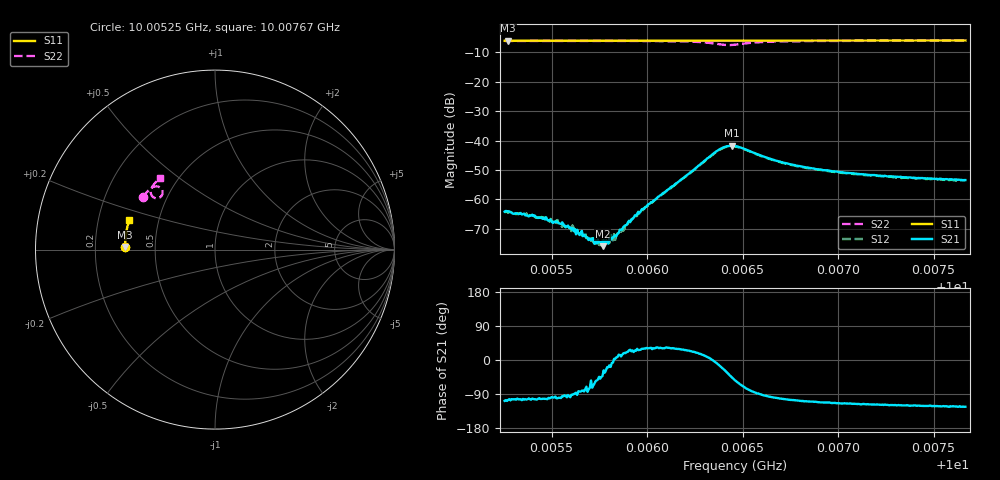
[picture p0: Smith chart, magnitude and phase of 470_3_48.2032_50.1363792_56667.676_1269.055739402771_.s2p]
#  HZ  S  RI  R  50.00
! Rohde & Schwarz Vector Network Analyzer
! Rohde-Schwarz,ZNB20-2Port,1311601062101988,3.16
! Created: UTC 3/20/2024, 11:57:07 AM
! freq[Hz]  re:S11  im:S11  re:S21  im:S21  re:S12  im:S12  re:S22  im:S22
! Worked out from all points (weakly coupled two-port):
!   401 points, 10.00525 GHz to 10.00767 GHz, reference 50 ohm
!   highest |S21| = -41.79 dB at 10.00644 GHz (marker M1); lowest = -76.0 dB at 10.00577 GHz (marker M2)
!   lowest |S11| = -6.0 dB at 10.00527 GHz (marker M3), VSWR 3.01, Z = 16.6 + j0.641 ohm
!   |S11| at or under -10 dB: nowhere
!   |S22| runs from -7.5 to -6.0 dB; largest |S21 - S12| = 0.0005
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1.0005254e10  -0.5008 0.0133  -0.000188 -0.000587  -0.000139 -0.000622  -0.4002 0.2923
1.0005272e10  -0.5007 0.0144  -0.000172 -0.000604  -0.000141 -0.000572  -0.3995 0.2932
1.0005459e10  -0.5006 0.0268  -0.000103 -0.000475  -7.13e-05 -0.000471  -0.3917 0.3043
1.0005544e10  -0.5005 0.0323  -6.55e-05 -0.000381  -1.64e-05 -0.000353  -0.3882 0.3093
1.0005622e10  -0.5002 0.0374  8.44e-06 -0.000312  1.18e-05 -0.000283  -0.3844 0.3141
1.0005658e10  -0.5001 0.0397  4.66e-05 -0.000287  -2.54e-05 -0.000241  -0.3826 0.3163
1.0005695e10  -0.5 0.042  4.53e-05 -0.000197  5.06e-05 -0.000197  -0.3809 0.3186
1.0005743e10  -0.4998 0.0453  0.000128 -0.000162  9.2e-05 -0.000159  -0.3784 0.3216
1.0005767e10  -0.4997 0.0468  0.000118 -0.000107  0.00017 -0.000109  -0.3771 0.323
1.0005791e10  -0.4998 0.0483  0.000185 -6.39e-05  0.000183 -3.14e-05  -0.3758 0.3245
1.0005827e10  -0.4996 0.0506  0.000236 1.15e-05  0.000253 2.79e-05  -0.3737 0.3269
1.0005869e10  -0.4992 0.0533  0.000296 7.26e-05  0.000276 0.000105  -0.371 0.3297
1.00059e10  -0.4991 0.0553  0.000374 0.000149  0.000345 0.000157  -0.369 0.3315
1.0006062e10  -0.4981 0.0658  0.000962 0.00058  0.000899 0.000619  -0.3558 0.3426
1.0006364e10  -0.4952 0.0851  0.00652 -0.000941  0.0064 -0.000574  -0.2944 0.3305
1.0006406e10  -0.4948 0.0876  0.00696 -0.00351  0.00699 -0.00311  -0.2941 0.3068
1.0006442e10  -0.4944 0.0897  0.00576 -0.00576  0.00599 -0.00533  -0.3085 0.29
1.000646e10  -0.4943 0.0907  0.00478 -0.00647  0.00505 -0.0061  -0.3185 0.2863
1.0006671e10  -0.4929 0.1044  -0.000771 -0.00451  -0.000514 -0.00448  -0.3582 0.3272
1.0006864e10  -0.4905 0.1167  -0.00114 -0.00317  -0.001 -0.00318  -0.3498 0.3497
1.0007268e10  -0.4846 0.1421  -0.00121 -0.00215  -0.00107 -0.00218  -0.3289 0.3769
1.0007666e10  -0.4774 0.1669  -0.00117 -0.00177  -0.00109 -0.00178  -0.3085 0.3968
